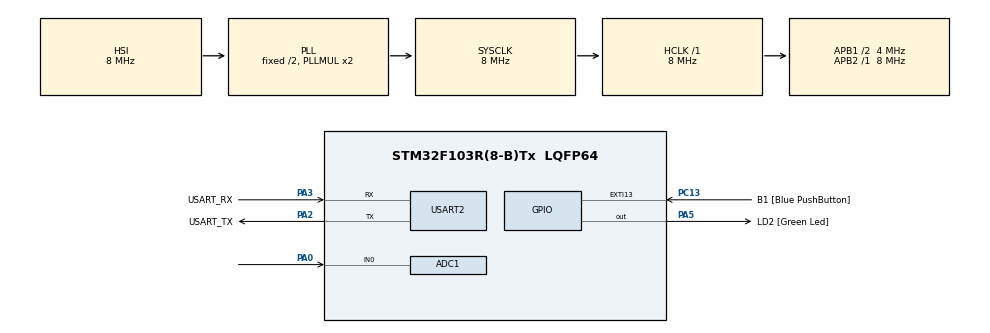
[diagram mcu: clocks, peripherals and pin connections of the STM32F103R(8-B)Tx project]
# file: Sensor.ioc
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Mcu.Family=STM32F1
PC15-OSC32_OUT.Mode=LSE-External-Oscillator
PA2.GPIO_PuPd=GPIO_NOPULL
ADC1.Rank-0\#ChannelRegularConversion=1
PD1-OSC_OUT.Mode=HSE-External-Clock-Source
PA14.GPIO_Label=TCK
PA3.GPIO_PuPd=GPIO_NOPULL
PA2.GPIO_Speed=GPIO_SPEED_FREQ_LOW
PC13-TAMPER-RTC.Signal=GPXTI13
PD0-OSC_IN.Signal=RCC_OSC_IN
RCC.APB1CLKDivider=RCC_HCLK_DIV2
PC14-OSC32_IN.Signal=RCC_OSC32_IN
PA3.GPIO_Speed=GPIO_SPEED_FREQ_LOW
RCC.SYSCLKSource=RCC_SYSCLKSOURCE_PLLCLK
ProjectManager.StackSize=0x400
PA0-WKUP.Signal=ADCx_IN0
PD1-OSC_OUT.Signal=RCC_OSC_OUT
PA13.Signal=SYS_JTMS-SWDIO
PA3.Mode=Asynchronous
ProjectManager.TargetToolchain=STM32CubeIDE
PA3.GPIO_Mode=GPIO_MODE_AF_PP
RCC.HCLKFreq_Value=8000000
RCC.APB2TimFreq_Value=8000000
RCC.USBFreq_Value=8000000
PC15-OSC32_OUT.Signal=RCC_OSC32_OUT
RCC.AHBFreq_Value=8000000
PD0-OSC_IN.Mode=HSE-External-Clock-Source
NVIC.EXTI15_10_IRQn=true\:0\:0\:false\:false\:true\:true\:true
PA5.Signal=GPIO_Output
ADC1.Channel-0\#ChannelRegularConversion=ADC_CHANNEL_0
board=NUCLEO-F103RB
RCC.RTCClockSelection=RCC_RTCCLKSOURCE_LSE
PC13-TAMPER-RTC.GPIO_Label=B1 [Blue PushButton]
RCC.APB2Freq_Value=8000000
PC14-OSC32_IN.Mode=LSE-External-Oscillator
PA5.GPIO_ModeDefaultOutputPP=GPIO_MODE_OUTPUT_PP
PA14.Mode=Serial_Wire
PA5.GPIO_PuPd=GPIO_NOPULL
SH.ADCx_IN0.0=ADC1_IN0,IN0
PA13.Mode=Serial_Wire
Mcu.Name=STM32F103R(8-B)Tx
ADC1.SamplingTime-0\#ChannelRegularConversion=ADC_SAMPLETIME_1CYCLE_5
PA2.Signal=USART2_TX
PA13.GPIO_Label=TMS
PB3.Signal=SYS_JTDO-TRACESWO
RCC.SYSCLKFreq_VALUE=8000000
Mcu.Package=LQFP64
ADC1.master=1
PA5.GPIO_Label=LD2 [Green Led]
USART2.VirtualMode=VM_ASYNC
PC13-TAMPER-RTC.GPIO_PuPd=GPIO_NOPULL
PA2.GPIO_Label=USART_TX
PA14.Signal=SYS_JTCK-SWCLK
ProjectManager.HeapSize=0x200
PA5.GPIO_Speed=GPIO_SPEED_FREQ_LOW
NVIC.PriorityGroup=NVIC_PRIORITYGROUP_4
ADC1.NbrOfConversionFlag=1
RCC.APB1TimFreq_Value=8000000
PA2.Mode=Asynchronous
RCC.APB1Freq_Value=4000000
PA3.GPIO_Label=USART_RX
PA3.Signal=USART2_RX
PA2.GPIO_Mode=GPIO_MODE_AF_PP
PB3.GPIO_Label=SWO

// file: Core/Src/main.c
/* USER CODE BEGIN Header */
/**
  ******************************************************************************
  * @file           : main.c
  * @brief          : Main program body
  ******************************************************************************
  * @attention
  *
  * <h2><center>&copy; Copyright (c) 2021 STMicroelectronics.
  * All rights reserved.</center></h2>
  *
  * This software component is licensed by ST under BSD 3-Clause license,
  * the "License"; You may not use this file except in compliance with the
  * License. You may obtain a copy of the License at:
  *                        opensource.org/licenses/BSD-3-Clause
  *
  ******************************************************************************
  */
/* USER CODE END Header */
#include "main.h"

/* USER CODE BEGIN Includes */
#include "stdio.h"
/* USER CODE END Includes */

ADC_HandleTypeDef hadc1;

UART_HandleTypeDef huart2;

void SystemClock_Config(void);
static void MX_GPIO_Init(void);
static void MX_USART2_UART_Init(void);
static void MX_ADC1_Init(void);

/* USER CODE BEGIN 0 */
int __io_putchar(int ch) {
    HAL_UART_Transmit(&huart2, (uint8_t *)&ch, 1, 100);
    return ch;
}
/* USER CODE END 0 */

int main(void)
{

  /* MCU Configuration--------------------------------------------------------*/

  /* Reset of all peripherals, Initializes the Flash interface and the Systick. */
  HAL_Init();

  /* Configure the system clock */
  SystemClock_Config();

  /* Initialize all configured peripherals */
  MX_GPIO_Init();
  MX_USART2_UART_Init();
  MX_ADC1_Init();
  /* USER CODE BEGIN 2 */
  uint32_t adc_val;
  // char msg[30];
  // char low_msg[] = "Lower than constant number \n\r";
  // char init[] = "Started! \n\r";
  setbuf(stdout, NULL);
  /* USER CODE END 2 */

  /* Infinite loop */
  /* USER CODE BEGIN WHILE */
  // HAL_UART_Transmit(&huart2, (uint8_t *)init, sizeof(init), 100);
  printf("Started! \n\r");
  while (1)
  {
	  // initiate variables
	  adc_val = 0.0;
	  // memset(msg, '\0', sizeof(msg));
	  // ADC sequence
	  HAL_ADC_Start(&hadc1);
	  HAL_ADC_PollForConversion(&hadc1, 1000);
	  adc_val = HAL_ADC_GetValue(&hadc1);

	  // Adding sensor value to msg variable
	  // sprintf(msg, "Received data: %d \n\r", adc_val);

	  if(adc_val > 1){
		  // Outputting the sensor value via UART, if value is more than 1
		  // Toggle the LED between on and off
		  HAL_GPIO_TogglePin(GPIOA, GPIO_PIN_5);
		  // Transmit word string
		  // HAL_UART_Transmit(&huart2, (uint8_t *)msg, sizeof(msg), 100);
		  // Transmit sensor value
		  // HAL_UART_Transmit(&huart2, (uint8_t *)adc_val, sizeof(adc_val), 100);
		  printf("Received value %ld \n\r", adc_val);
		  HAL_Delay(500);
	  }else{
		  // Output low word string if value is lower or equal to 1
		  // Transmit word string
		  // HAL_UART_Transmit(&huart2, (uint8_t *)low_msg, sizeof(low_msg), 100);
		  printf("Too low %ld \n\r", adc_val);
		  HAL_Delay(500);
	  }
    /* USER CODE END WHILE */

  }
}

void SystemClock_Config(void)
{
  RCC_OscInitTypeDef RCC_OscInitStruct = {0};
  RCC_ClkInitTypeDef RCC_ClkInitStruct = {0};
  RCC_PeriphCLKInitTypeDef PeriphClkInit = {0};

  /** Initializes the RCC Oscillators according to the specified parameters
  * in the RCC_OscInitTypeDef structure.
  */
  RCC_OscInitStruct.OscillatorType = RCC_OSCILLATORTYPE_HSI;
  RCC_OscInitStruct.HSIState = RCC_HSI_ON;
  RCC_OscInitStruct.HSICalibrationValue = RCC_HSICALIBRATION_DEFAULT;
  RCC_OscInitStruct.PLL.PLLState = RCC_PLL_ON;
  RCC_OscInitStruct.PLL.PLLSource = RCC_PLLSOURCE_HSI_DIV2;
  RCC_OscInitStruct.PLL.PLLMUL = RCC_PLL_MUL2;
  if (HAL_RCC_OscConfig(&RCC_OscInitStruct) != HAL_OK)
  {
    Error_Handler();
  }
  /** Initializes the CPU, AHB and APB buses clocks
  */
  RCC_ClkInitStruct.ClockType = RCC_CLOCKTYPE_HCLK|RCC_CLOCKTYPE_SYSCLK
                              |RCC_CLOCKTYPE_PCLK1|RCC_CLOCKTYPE_PCLK2;
  RCC_ClkInitStruct.SYSCLKSource = RCC_SYSCLKSOURCE_PLLCLK;
  RCC_ClkInitStruct.AHBCLKDivider = RCC_SYSCLK_DIV1;
  RCC_ClkInitStruct.APB1CLKDivider = RCC_HCLK_DIV2;
  RCC_ClkInitStruct.APB2CLKDivider = RCC_HCLK_DIV1;

  if (HAL_RCC_ClockConfig(&RCC_ClkInitStruct, FLASH_LATENCY_0) != HAL_OK)
  {
    Error_Handler();
  }
  PeriphClkInit.PeriphClockSelection = RCC_PERIPHCLK_ADC;
  PeriphClkInit.AdcClockSelection = RCC_ADCPCLK2_DIV2;
  if (HAL_RCCEx_PeriphCLKConfig(&PeriphClkInit) != HAL_OK)
  {
    Error_Handler();
  }
}

static void MX_ADC1_Init(void)
{

  ADC_ChannelConfTypeDef sConfig = {0};

  /** Common config
  */
  hadc1.Instance = ADC1;
  hadc1.Init.ScanConvMode = ADC_SCAN_DISABLE;
  hadc1.Init.ContinuousConvMode = DISABLE;
  hadc1.Init.DiscontinuousConvMode = DISABLE;
  hadc1.Init.ExternalTrigConv = ADC_SOFTWARE_START;
  hadc1.Init.DataAlign = ADC_DATAALIGN_RIGHT;
  hadc1.Init.NbrOfConversion = 1;
  if (HAL_ADC_Init(&hadc1) != HAL_OK)
  {
    Error_Handler();
  }
  /** Configure Regular Channel
  */
  sConfig.Channel = ADC_CHANNEL_0;
  sConfig.Rank = ADC_REGULAR_RANK_1;
  sConfig.SamplingTime = ADC_SAMPLETIME_1CYCLE_5;
  if (HAL_ADC_ConfigChannel(&hadc1, &sConfig) != HAL_OK)
  {
    Error_Handler();
  }

}

static void MX_USART2_UART_Init(void)
{

  huart2.Instance = USART2;
  huart2.Init.BaudRate = 115200;
  huart2.Init.WordLength = UART_WORDLENGTH_8B;
  huart2.Init.StopBits = UART_STOPBITS_1;
  huart2.Init.Parity = UART_PARITY_NONE;
  huart2.Init.Mode = UART_MODE_TX_RX;
  huart2.Init.HwFlowCtl = UART_HWCONTROL_NONE;
  huart2.Init.OverSampling = UART_OVERSAMPLING_16;
  if (HAL_UART_Init(&huart2) != HAL_OK)
  {
    Error_Handler();
  }

}

static void MX_GPIO_Init(void)
{
  GPIO_InitTypeDef GPIO_InitStruct = {0};

  /* GPIO Ports Clock Enable */
  __HAL_RCC_GPIOC_CLK_ENABLE();
  __HAL_RCC_GPIOD_CLK_ENABLE();
  __HAL_RCC_GPIOA_CLK_ENABLE();
  __HAL_RCC_GPIOB_CLK_ENABLE();

  /*Configure GPIO pin Output Level */
  HAL_GPIO_WritePin(LD2_GPIO_Port, LD2_Pin, GPIO_PIN_RESET);

  /*Configure GPIO pin : B1_Pin */
  GPIO_InitStruct.Pin = B1_Pin;
  GPIO_InitStruct.Mode = GPIO_MODE_IT_RISING;
  GPIO_InitStruct.Pull = GPIO_NOPULL;
  HAL_GPIO_Init(B1_GPIO_Port, &GPIO_InitStruct);

  /*Configure GPIO pin : LD2_Pin */
  GPIO_InitStruct.Pin = LD2_Pin;
  GPIO_InitStruct.Mode = GPIO_MODE_OUTPUT_PP;
  GPIO_InitStruct.Pull = GPIO_NOPULL;
  GPIO_InitStruct.Speed = GPIO_SPEED_FREQ_LOW;
  HAL_GPIO_Init(LD2_GPIO_Port, &GPIO_InitStruct);

  /* EXTI interrupt init*/
  HAL_NVIC_SetPriority(EXTI15_10_IRQn, 0, 0);
  HAL_NVIC_EnableIRQ(EXTI15_10_IRQn);

}

void Error_Handler(void)
{
  __disable_irq();
  while (1)
  {
  }
}

/************************ (C) COPYRIGHT STMicroelectronics *****END OF FILE****/
